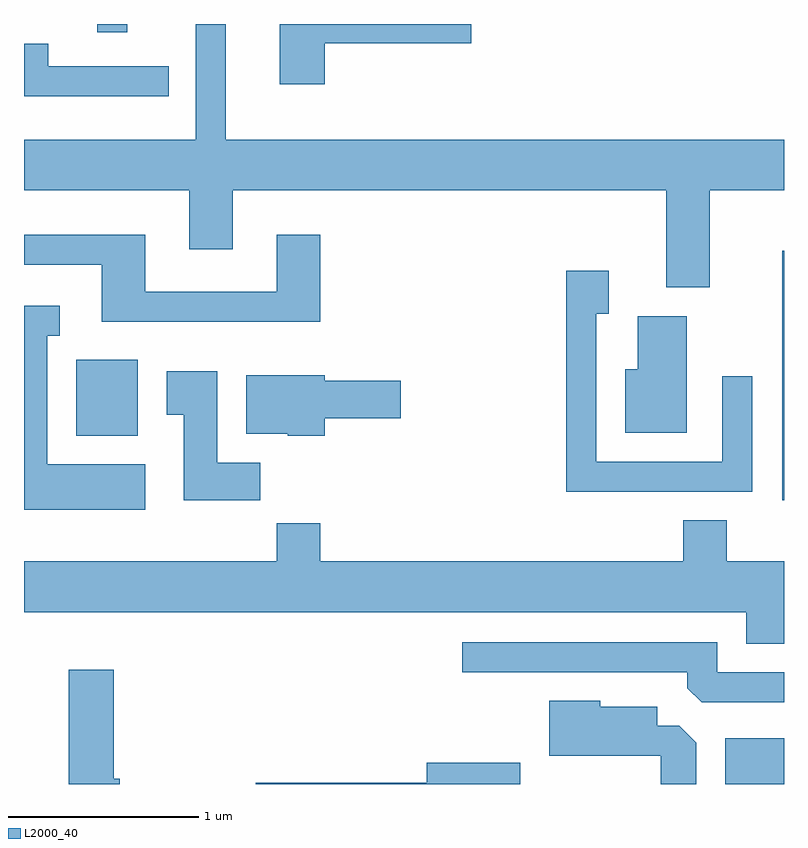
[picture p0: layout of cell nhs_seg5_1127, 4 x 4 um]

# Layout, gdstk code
import gdstk
lib = gdstk.Library(unit=1e-6, precision=1e-09)
def R(c, l, rs):  # rectangles x0, y0, x1, y1
    for r in rs: c.add(gdstk.rectangle(r[:2], r[2:], *l))
def P(c, l, *ps):  # polygons
    for p in ps: c.add(gdstk.Polygon(p, *l))
L2000_40 = (2000, 40)

nhs_seg5_1127 = lib.new_cell('nhs_seg5_1127')
R(nhs_seg5_1127, L2000_40, [(221.301,1498.072,221.611,1498.314), (221.601,1499.566,221.611,1500.879), (217.886,1499.906,218.209,1500.304), (217.996,1502.028,218.154,1502.072)])
P(nhs_seg5_1127, L2000_40, [(221.219,1501.196),(221.611,1501.196),(221.611,1501.464),(218.674,1501.464),(218.674,1502.072),(218.516,1502.072),(218.516,1501.464),(217.611,1501.464),(217.611,1501.196),(218.481,1501.196),(218.481,1500.886),(218.709,1500.886),(218.709,1501.196),(220.991,1501.196),(220.991,1500.686),(221.219,1500.686)],
  [(219.194,1501.971),(219.964,1501.971),(219.964,1502.072),(218.956,1502.072),(218.956,1501.756),(219.194,1501.756)],
  [(218.373,1501.849),(217.739,1501.849),(217.739,1501.969),(217.611,1501.969),(217.611,1501.691),(218.373,1501.691)],
  [(219.169,1500.964),(218.941,1500.964),(218.941,1500.664),(218.249,1500.664),(218.249,1500.964),(217.611,1500.964),(217.611,1500.806),(218.021,1500.806),(218.021,1500.506),(219.169,1500.506)],
  [(221.444,1500.218),(221.286,1500.218),(221.286,1499.769),(220.624,1499.769),(220.624,1500.546),(220.689,1500.546),(220.689,1500.774),(220.466,1500.774),(220.466,1499.611),(221.444,1499.611)],
  [(218.249,1499.754),(217.734,1499.754),(217.734,1500.431),(217.798,1500.431),(217.798,1500.589),(217.611,1500.589),(217.611,1499.516),(218.249,1499.516)],
  [(221.099,1500.534),(220.841,1500.534),(220.841,1500.254),(220.776,1500.254),(220.776,1499.921),(221.099,1499.921)],
  [(218.854,1499.764),(218.629,1499.764),(218.629,1500.244),(218.361,1500.244),(218.361,1500.016),(218.451,1500.016),(218.451,1499.566),(218.854,1499.566)],
  [(219.194,1499.996),(219.594,1499.996),(219.594,1500.194),(219.194,1500.194),(219.194,1500.224),(218.781,1500.224),(218.781,1499.916),(219,1499.916),(219,1499.906),(219.194,1499.906)],
  [(221.611,1499.244),(221.309,1499.244),(221.309,1499.459),(221.081,1499.459),(221.081,1499.244),(219.169,1499.244),(219.169,1499.444),(218.941,1499.444),(218.941,1499.244),(217.611,1499.244),(217.611,1498.976),(221.411,1498.976),(221.411,1498.811),(221.611,1498.811)],
  [(221.611,1498.659),(221.259,1498.659),(221.259,1498.819),(219.918,1498.819),(219.918,1498.661),(221.101,1498.661),(221.101,1498.577),(221.177,1498.501),(221.611,1498.501)],
  [(218.114,1498.099),(218.084,1498.099),(218.084,1498.674),(217.846,1498.674),(217.846,1498.072),(218.114,1498.072)],
  [(221.149,1498.289),(221.059,1498.379),(220.944,1498.379),(220.944,1498.479),(220.644,1498.479),(220.644,1498.509),(220.376,1498.509),(220.376,1498.221),(220.961,1498.221),(220.961,1498.072),(221.149,1498.072)],
  [(220.224,1498.184),(219.731,1498.184),(219.731,1498.079),(218.831,1498.079),(218.831,1498.072),(220.224,1498.072)])

lib.write_gds('nhs_seg5_1127.gds')
